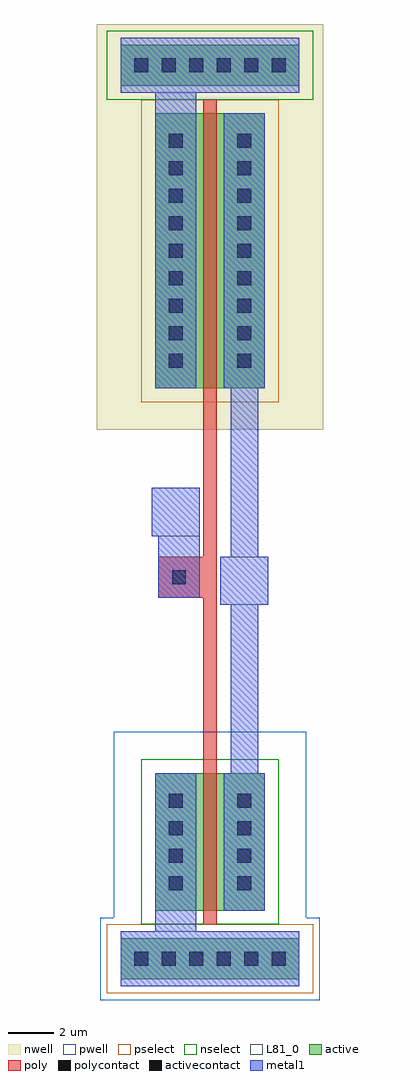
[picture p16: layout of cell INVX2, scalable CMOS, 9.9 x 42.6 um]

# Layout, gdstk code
import gdstk
lib = gdstk.Library(unit=1e-6, precision=1e-09)
def R(c, l, rs):  # rectangles x0, y0, x1, y1
    for r in rs: c.add(gdstk.rectangle(r[:2], r[2:], *l))
def A(c, l, x, y, w, h, nx, ny, dx, dy):  # array of equal rectangles
    R(c, l, [(x+i*dx, y+j*dy, x+i*dx+w, y+j*dy+h) for i in range(nx) for j in range(ny)])
pwell = (41, 0)
nwell = (42, 0)
active = (43, 0)
pselect = (44, 0)
nselect = (45, 0)
poly = (46, 0)
polycontact = (47, 0)
activecontact = (48, 0)
metal1 = (49, 0)
L81_0 = (81, 0)

invx2 = lib.new_cell('INVX2')
R(invx2, pwell, [(-1.8,-1.8,7.8,1.8), (-1.2,1.8,7.2,9.9)])
R(invx2, nwell, [(-1.95,23.1,7.95,40.8)])
R(invx2, active, [(-0.9,-0.9,6.9,0.9), (0.6,2.1,5.4,8.1), (0.6,24.9,5.4,36.9), (-0.9,38.1,6.9,39.9)])
R(invx2, pselect, [(-1.5,-1.5,7.5,1.5), (0,24.3,6,37.5)])
R(invx2, nselect, [(0,1.5,6,8.7), (-1.5,37.5,7.5,40.5)])
R(invx2, poly, [(2.7,1.5,3.3,15.75), (0.75,15.75,3.3,17.55), (2.7,17.55,3.3,37.5)])
R(invx2, polycontact, [(1.35,16.35,1.95,16.95)])
A(invx2, activecontact, -0.3, -0.3, 0.6, 0.6, 6, 2, 1.2, 39)
A(invx2, activecontact, 1.2, 3, 0.6, 0.6, 1, 4, 0, 1.2)
A(invx2, activecontact, 4.2, 3, 0.6, 0.6, 1, 4, 0, 1.2)
A(invx2, activecontact, 1.2, 25.8, 0.6, 0.6, 1, 9, 0, 1.2)
A(invx2, activecontact, 4.2, 25.8, 0.6, 0.6, 1, 9, 0, 1.2)
R(invx2, metal1, [(-0.9,-1.2,6.9,1.2), (0.6,1.2,2.4,8.1), (3.6,2.1,5.4,8.1), (3.9,8.1,5.1,15.45), (3.45,15.45,5.55,17.55), (0.75,15.75,2.55,18.45), (3.9,17.55,5.1,24.9), (0.45,18.45,2.55,20.55), (0.6,24.9,2.4,37.8), (3.6,24.9,5.4,36.9), (-0.9,37.8,6.9,40.2)])
R(invx2, L81_0, [(-0.9,-1.2,6.9,1.2), (3.45,15.45,5.55,17.55), (0.45,18.45,2.55,20.55), (-0.9,37.8,6.9,40.2)])

lib.write_gds('INVX2.gds')
